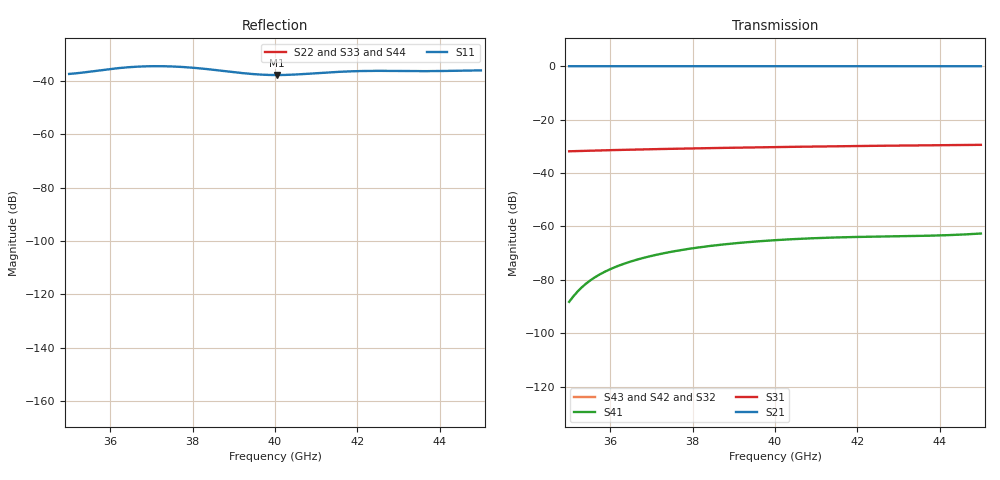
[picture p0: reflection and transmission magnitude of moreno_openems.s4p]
! Moreno cross-guide coupler, openEMS FDTD
! only column 1 (port 1 excited) and, by reciprocity, row 1 are simulated; other entries are zero
! S-parameters are normalised to each port's TE10 wave impedance (generalised
! S-matrix); 'R 50' below is only the placeholder the format requires.
! Reference planes: edges of the common a x a square.
# GHz S MA R 50
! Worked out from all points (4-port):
!   201 points, 35 GHz to 45 GHz, reference 50 ohm
!   strongest paths, dB at 35 GHz, 37.5 GHz, 40 GHz, 42.5 GHz, 45 GHz:
!     S21: 0.0, 0.0, 0.0, 0.0, 0.0
!     S31: -31.9, -30.9, -30.3, -29.8, -29.5
!     S41: -88.2, -69.5, -65.2, -63.8, -62.7
!     S43: -, -, -, -, -
!     S42: -, -, -, -, -
!     S32: -, -, -, -, -
!   lowest |S11| = -37.9 dB at 40.05 GHz (marker M1), VSWR 1.03, Z = 51.2 + j0.397 ohm
!   |S11| at or under -10 dB: start of sweep to end of sweep
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35  0.01342 -146.0  0.999 -159.8  0.0255 110.2  3.87e-05 129.1
    0.999 -159.8  0 0.0  0 0.0  0 0.0
    0.0255 110.2  0 0.0  0 0.0  0 0.0
    3.87e-05 129.1  0 0.0  0 0.0  0 0.0
35.55  0.01498 -122.0  0.9999 -165.6  0.02621 104.4  0.0001018 142.6
       0.9999 -165.6  0 0.0  0 0.0  0 0.0
       0.02621 104.4  0 0.0  0 0.0  0 0.0
       0.0001018 142.6  0 0.0  0 0.0  0 0.0
36.3  0.01755 -98.2  1 -173.3  0.02711 96.7  0.0001958 131.9
      1 -173.3  0 0.0  0 0.0  0 0.0
      0.02711 96.7  0 0.0  0 0.0  0 0.0
      0.0001958 131.9  0 0.0  0 0.0  0 0.0
37.4  0.01864 -71.9  0.9999 175.7  0.02828 85.7  0.0003258 112.0
      0.9999 175.7  0 0.0  0 0.0  0 0.0
      0.02828 85.7  0 0.0  0 0.0  0 0.0
      0.0003258 112.0  0 0.0  0 0.0  0 0.0
40.05  0.0128 17.6  0.9994 150.4  0.03059 60.4  0.0005552 68.5
       0.9994 150.4  0 0.0  0 0.0  0 0.0
       0.03059 60.4  0 0.0  0 0.0  0 0.0
       0.0005552 68.5  0 0.0  0 0.0  0 0.0
42.6  0.01533 104.8  0.9998 127.1  0.03237 37.1  0.0006467 36.3
      0.9998 127.1  0 0.0  0 0.0  0 0.0
      0.03237 37.1  0 0.0  0 0.0  0 0.0
      0.0006467 36.3  0 0.0  0 0.0  0 0.0
45  0.01565 179.5  0.9984 105.9  0.03366 15.8  0.0007357 16.4
    0.9984 105.9  0 0.0  0 0.0  0 0.0
    0.03366 15.8  0 0.0  0 0.0  0 0.0
    0.0007357 16.4  0 0.0  0 0.0  0 0.0
